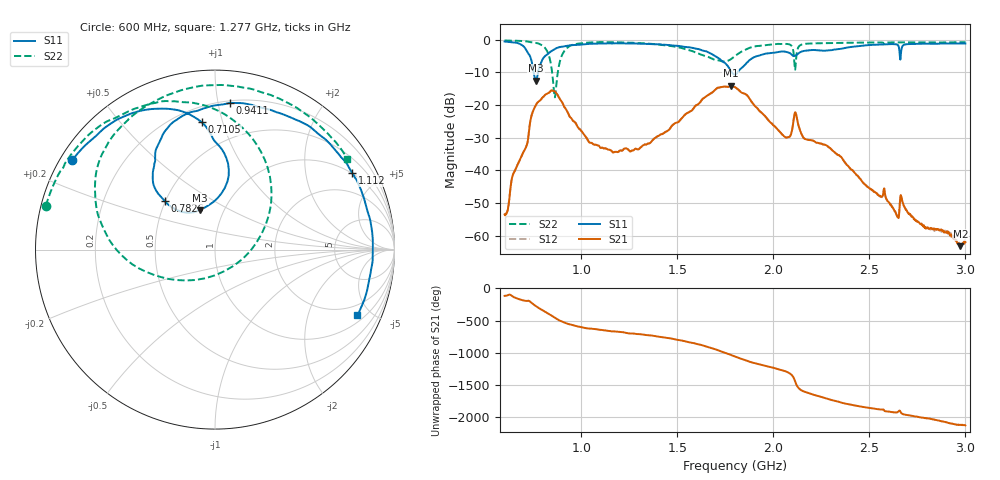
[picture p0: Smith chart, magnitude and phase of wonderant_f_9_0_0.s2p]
#  HZ  S  RI  R  50.00
! Rohde & Schwarz ZVB8 2Ports - Version 2.81 - 1145.1010k08 SN: 100113
! Date: 2016-05-17 22:37:21
! Measurements: S11 S21 S12 S22
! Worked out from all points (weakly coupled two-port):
!   1000 points, 600 MHz to 3 GHz, reference 50 ohm
!   highest |S21| = -14.11 dB at 1.777 GHz (marker M1); lowest = -63.2 dB at 2.974 GHz (marker M2)
!   lowest |S11| = -12.6 dB at 763.4 MHz (marker M3), VSWR 1.61, Z = 38.7 + j18 ohm
!   |S11| at or under -10 dB: 751.3 MHz to 773.9 MHz (22.65 MHz wide, 2.97 % of centre); 1.783 GHz to 1.813 GHz (30.04 MHz wide, 1.67 % of centre)
!   |S22| runs from -17.7 to -0.2 dB; largest |S21 - S12| = 0.0016
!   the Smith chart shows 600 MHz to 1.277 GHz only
!   S11 on the Smith chart (normalised r, x): 600 MHz: 0.03, +0.29; 710.5 MHz: 0.30, +0.86; 782.6 MHz: 0.49, +0.32; 941.1 MHz: 0.22, +1.08; 1.112 GHz: 0.98, +3.58; 1.277 GHz: 1.36, -4.16
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6e8  -0.7943 0.5002  -0.000962 -0.00188  -0.0009 -0.00181  -0.9426 0.2442
7.105105e8  -0.0736 0.7096  -0.0215 0.00582  -0.0217 0.00542  -0.6676 0.6695
7.633634e8  -0.0828 0.22  0.0111 0.0995  0.011 0.0991  -0.3776 0.8073
7.825826e8  -0.2813 0.2724  0.0813 0.0835  0.0809 0.0833  -0.2232 0.8263
8.378378e8  -0.3267 0.5635  0.107 -0.1212  0.1071 -0.1214  0.313 0.3557
8.714715e8  -0.2354 0.7084  -0.0618 -0.136  -0.0618 -0.1359  -0.1608 -0.172
9.411411e8  0.0825 0.8169  -0.0617 0.021  -0.0615 0.0208  -0.6497 0.4792
1.001201e9  0.3635 0.7594  -0.0172 0.0355  -0.0174 0.0354  -0.4064 0.7849
1.111712e9  0.7632 0.428  0.00679 0.021  0.00671 0.021  0.1062 0.9112
1.277477e9  0.7939 -0.3635  0.0201 0.00633  0.0201 0.00643  0.7367 0.5054
1.4e9  0.3531 -0.7729  0.0294 -0.0159  0.0295 -0.0159  0.8381 -0.094
1.616216e9  -0.5799 -0.4084  -0.0954 -0.0515  -0.0952 -0.0517  0.064 -0.598
1.777177e9  -0.32 0.0952  0.126 0.1516  0.1253 0.1522  -0.1381 -0.4795
1.801201e9  -0.29 0.0293  0.1738 0.0683  0.1735 0.0689  -0.1942 -0.5298
1.914114e9  -0.4851 0.2815  0.00438 -0.0905  0.00439 -0.0906  -0.6965 -0.3923
2.036637e9  0.0181 0.6558  -0.0379 0.00125  -0.0379 0.00121  -0.8349 0.2074
2.106306e9  0.3389 0.4466  0.0408 0.0467  0.0404 0.0468  -0.3123 0.4913
2.2e9  0.6861 0.1146  -0.0271 0.0096  -0.0271 0.0096  -0.5459 0.6855
2.413814e9  0.2157 -0.7501  0.00981 -0.00149  0.00971 -0.00144  0.2711 0.8588
2.601201e9  -0.5897 -0.621  -0.00111 -0.00306  -0.00111 -0.00307  0.7978 0.4317
2.973574e9  -0.7082 0.5169  0.000475 0.000499  0.000522 0.000512  0.5956 -0.6933
3e9  -0.6547 0.5811  0.00065 0.00046  0.000604 0.000494  0.5423 -0.7364
